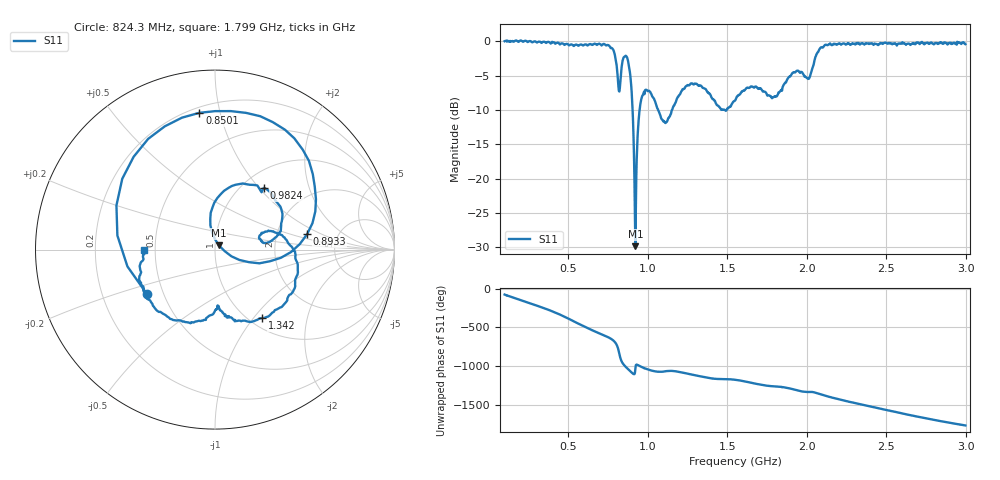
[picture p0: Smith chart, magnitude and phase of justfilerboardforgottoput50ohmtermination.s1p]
# HZ S RI R 50
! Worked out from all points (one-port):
!   1009 points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, 100 MHz to 2.997 GHz, reference 50 ohm
!   lowest |S11| = -29.9 dB at 922 MHz (marker M1), VSWR 1.07, Z = 52.2 + j2.49 ohm
!   |S11| at or under -10 dB: 904.7 MHz to 948.7 MHz (44.07 MHz wide, 4.76 % of centre); 1.065 GHz to 1.152 GHz (87.37 MHz wide, 7.88 % of centre); 1.484 GHz to 1.496 GHz (12.02 MHz wide, 0.806 % of centre)
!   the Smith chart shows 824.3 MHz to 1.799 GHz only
!   S11 on the Smith chart (normalised r, x): 824.3 MHz: 0.40, -0.25; 850.1 MHz: 0.23, +0.86; 893.3 MHz: 2.98, +0.70; 982.4 MHz: 1.24, +1.06; 1.342 GHz: 1.14, -1.11; 1.799 GHz: 0.43, -0.00
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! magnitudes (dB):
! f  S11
! 100 MHz  0.0
! 462.1 MHz  -0.3
! 758.2 MHz  -0.7
! 786.9 MHz  -1.5
! 824.3 MHz  -6.9
! 850.1 MHz  -2.3
! 873.1 MHz  -2.6
! 893.3 MHz  -5.7
! 901.9 MHz  -8.6
! 910.5 MHz  -13.9
! 922 MHz  -29.9
! 930.6 MHz  -17.2
! 950.7 MHz  -9.6
! 982.4 MHz  -7.2
! 1.106 GHz  -11.7
! 1.186 GHz  -8.2
! 1.258 GHz  -6.4
! 1.342 GHz  -6.7
! 1.477 GHz  -10.0
! 1.549 GHz  -8.6
! 1.661 GHz  -6.6
! 1.799 GHz  -8.0
! 1.911 GHz  -4.6
! 2.008 GHz  -5.5
! 2.092 GHz  -0.9
! 2.273 GHz  -0.5
! 2.635 GHz  -0.3
! 2.997 GHz  -0.4
